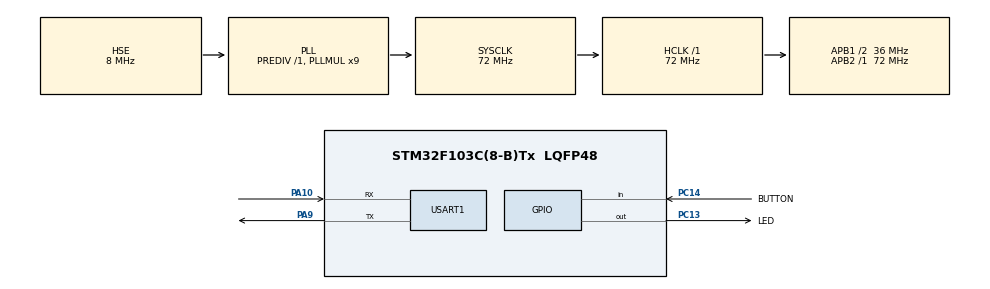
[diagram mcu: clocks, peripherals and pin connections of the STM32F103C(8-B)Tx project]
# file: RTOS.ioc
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FREERTOS.Mutexes01=uart_mutex01,Dynamic,NULL;uart_mutex02,Dynamic,NULL;uart_mutex03,Dynamic,NULL
FREERTOS.Tasks01=defaultTask,0,128,StartDefaultTask,Default,NULL,Dynamic,NULL,NULL;Thread1,-3,128,Thread1Func,Default,NULL,Dynamic,NULL,NULL;Thread2,-3,128,Thread2Func,Default,NULL,Dynamic,NULL,NULL;Thread3,-3,128,Thread3Func,Default,NULL,Dynamic,NULL,NULL
Mcu.Family=STM32F1
Mcu.Name=STM32F103C(8-B)Tx
Mcu.Package=LQFP48
NVIC.PriorityGroup=NVIC_PRIORITYGROUP_4
NVIC.TIM2_IRQn=true\:15\:0\:false\:false\:true\:false\:false\:true
NVIC.TimeBase=TIM2_IRQn
NVIC.TimeBaseIP=TIM2
PA10.Mode=Asynchronous
PA10.Signal=USART1_RX
PA13.Mode=Serial_Wire
PA13.Signal=SYS_JTMS-SWDIO
PA14.Mode=Serial_Wire
PA14.Signal=SYS_JTCK-SWCLK
PA9.Mode=Asynchronous
PA9.Signal=USART1_TX
PC13-TAMPER-RTC.GPIO_Label=LED
PC13-TAMPER-RTC.Signal=GPIO_Output
PC14-OSC32_IN.GPIO_Label=BUTTON
PC14-OSC32_IN.Signal=GPIO_Input
PD0-OSC_IN.Mode=HSE-External-Oscillator
PD0-OSC_IN.Signal=RCC_OSC_IN
PD1-OSC_OUT.Mode=HSE-External-Oscillator
PD1-OSC_OUT.Signal=RCC_OSC_OUT
ProjectManager.HeapSize=0x200
ProjectManager.StackSize=0x400
ProjectManager.TargetToolchain=STM32CubeIDE
RCC.AHBFreq_Value=72000000
RCC.APB1CLKDivider=RCC_HCLK_DIV2
RCC.APB1Freq_Value=36000000
RCC.APB1TimFreq_Value=72000000
RCC.APB2Freq_Value=72000000
RCC.APB2TimFreq_Value=72000000
RCC.HCLKFreq_Value=72000000
RCC.PLLMUL=RCC_PLL_MUL9
RCC.PLLSourceVirtual=RCC_PLLSOURCE_HSE
RCC.SYSCLKFreq_VALUE=72000000
RCC.SYSCLKSource=RCC_SYSCLKSOURCE_PLLCLK
RCC.USBFreq_Value=72000000
USART1.VirtualMode=VM_ASYNC
VP_FREERTOS_VS_CMSIS_V1.Mode=CMSIS_V1
VP_SYS_VS_tim2.Mode=TIM2
board=custom

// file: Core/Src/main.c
/* USER CODE BEGIN Header */
/**
  ******************************************************************************
  * @file           : main.c
  * @brief          : Main program body
  ******************************************************************************
  * @attention
  *
  * <h2><center>&copy; Copyright (c) 2021 STMicroelectronics.
  * All rights reserved.</center></h2>
  *
  * This software component is licensed by ST under BSD 3-Clause license,
  * the "License"; You may not use this file except in compliance with the
  * License. You may obtain a copy of the License at:
  *                        opensource.org/licenses/BSD-3-Clause
  *
  ******************************************************************************
  */
/* USER CODE END Header */
#include "main.h"
#include "cmsis_os.h"

UART_HandleTypeDef huart1;

osThreadId defaultTaskHandle;
osThreadId Thread1Handle;
osThreadId Thread2Handle;
osThreadId Thread3Handle;
osMutexId uart_mutex01Handle;
osMutexId uart_mutex02Handle;
osMutexId uart_mutex03Handle;

void SystemClock_Config(void);
static void MX_GPIO_Init(void);
static void MX_USART1_UART_Init(void);
void StartDefaultTask(void const * argument);
void Thread1Func(void const * argument);
void Thread2Func(void const * argument);
void Thread3Func(void const * argument);

/* USER CODE BEGIN 0 */
typedef uint32_t TaskProfiler;
TaskProfiler Default_Thread_Profiler, Thread_1_Profiler, Thread_2_Profiler;
uint8_t msgThreadDefault[30] = "Hello Thread Default";
uint8_t msgThread1[30] = "Hello Thread 1";
uint8_t msgThread2[30] = "Hello Thread 2";
uint8_t msgThread3[30] = "Hello Thread 3";
uint8_t msgThread4[30] = "Hello Thread 4";
/* USER CODE END 0 */

int main(void)
{

  /* MCU Configuration--------------------------------------------------------*/

  /* Reset of all peripherals, Initializes the Flash interface and the Systick. */
  HAL_Init();

  /* Configure the system clock */
  SystemClock_Config();

  /* Initialize all configured peripherals */
  MX_GPIO_Init();
  MX_USART1_UART_Init();

  /* Create the mutex(es) */
  /* definition and creation of uart_mutex01 */
  osMutexDef(uart_mutex01);
  uart_mutex01Handle = osMutexCreate(osMutex(uart_mutex01));

  /* definition and creation of uart_mutex02 */
  osMutexDef(uart_mutex02);
  uart_mutex02Handle = osMutexCreate(osMutex(uart_mutex02));

  /* definition and creation of uart_mutex03 */
  osMutexDef(uart_mutex03);
  uart_mutex03Handle = osMutexCreate(osMutex(uart_mutex03));

  /* Create the thread(s) */
  /* definition and creation of defaultTask */
  osThreadDef(defaultTask, StartDefaultTask, osPriorityNormal, 0, 128);
  defaultTaskHandle = osThreadCreate(osThread(defaultTask), NULL);

  /* definition and creation of Thread1 */
  osThreadDef(Thread1, Thread1Func, osPriorityIdle, 0, 128);
  Thread1Handle = osThreadCreate(osThread(Thread1), NULL);

  /* definition and creation of Thread2 */
  osThreadDef(Thread2, Thread2Func, osPriorityIdle, 0, 128);
  Thread2Handle = osThreadCreate(osThread(Thread2), NULL);

  /* definition and creation of Thread3 */
  osThreadDef(Thread3, Thread3Func, osPriorityIdle, 0, 128);
  Thread3Handle = osThreadCreate(osThread(Thread3), NULL);

  /* Start scheduler */
  osKernelStart();

  /* We should never get here as control is now taken by the scheduler */
  /* Infinite loop */
  while (1)
  {

  }
}

void SystemClock_Config(void)
{
  RCC_OscInitTypeDef RCC_OscInitStruct = {0};
  RCC_ClkInitTypeDef RCC_ClkInitStruct = {0};

  /** Initializes the RCC Oscillators according to the specified parameters
  * in the RCC_OscInitTypeDef structure.
  */
  RCC_OscInitStruct.OscillatorType = RCC_OSCILLATORTYPE_HSE;
  RCC_OscInitStruct.HSEState = RCC_HSE_ON;
  RCC_OscInitStruct.HSEPredivValue = RCC_HSE_PREDIV_DIV1;
  RCC_OscInitStruct.HSIState = RCC_HSI_ON;
  RCC_OscInitStruct.PLL.PLLState = RCC_PLL_ON;
  RCC_OscInitStruct.PLL.PLLSource = RCC_PLLSOURCE_HSE;
  RCC_OscInitStruct.PLL.PLLMUL = RCC_PLL_MUL9;
  if (HAL_RCC_OscConfig(&RCC_OscInitStruct) != HAL_OK)
  {
    Error_Handler();
  }
  /** Initializes the CPU, AHB and APB buses clocks
  */
  RCC_ClkInitStruct.ClockType = RCC_CLOCKTYPE_HCLK|RCC_CLOCKTYPE_SYSCLK
                              |RCC_CLOCKTYPE_PCLK1|RCC_CLOCKTYPE_PCLK2;
  RCC_ClkInitStruct.SYSCLKSource = RCC_SYSCLKSOURCE_PLLCLK;
  RCC_ClkInitStruct.AHBCLKDivider = RCC_SYSCLK_DIV1;
  RCC_ClkInitStruct.APB1CLKDivider = RCC_HCLK_DIV2;
  RCC_ClkInitStruct.APB2CLKDivider = RCC_HCLK_DIV1;

  if (HAL_RCC_ClockConfig(&RCC_ClkInitStruct, FLASH_LATENCY_2) != HAL_OK)
  {
    Error_Handler();
  }
}

static void MX_USART1_UART_Init(void)
{

  huart1.Instance = USART1;
  huart1.Init.BaudRate = 115200;
  huart1.Init.WordLength = UART_WORDLENGTH_8B;
  huart1.Init.StopBits = UART_STOPBITS_1;
  huart1.Init.Parity = UART_PARITY_NONE;
  huart1.Init.Mode = UART_MODE_TX_RX;
  huart1.Init.HwFlowCtl = UART_HWCONTROL_NONE;
  huart1.Init.OverSampling = UART_OVERSAMPLING_16;
  if (HAL_UART_Init(&huart1) != HAL_OK)
  {
    Error_Handler();
  }

}

static void MX_GPIO_Init(void)
{
  GPIO_InitTypeDef GPIO_InitStruct = {0};

  /* GPIO Ports Clock Enable */
  __HAL_RCC_GPIOC_CLK_ENABLE();
  __HAL_RCC_GPIOD_CLK_ENABLE();
  __HAL_RCC_GPIOA_CLK_ENABLE();

  /*Configure GPIO pin Output Level */
  HAL_GPIO_WritePin(LED_GPIO_Port, LED_Pin, GPIO_PIN_RESET);

  /*Configure GPIO pin : LED_Pin */
  GPIO_InitStruct.Pin = LED_Pin;
  GPIO_InitStruct.Mode = GPIO_MODE_OUTPUT_PP;
  GPIO_InitStruct.Pull = GPIO_NOPULL;
  GPIO_InitStruct.Speed = GPIO_SPEED_FREQ_LOW;
  HAL_GPIO_Init(LED_GPIO_Port, &GPIO_InitStruct);

  /*Configure GPIO pin : BUTTON_Pin */
  GPIO_InitStruct.Pin = BUTTON_Pin;
  GPIO_InitStruct.Mode = GPIO_MODE_INPUT;
  GPIO_InitStruct.Pull = GPIO_NOPULL;
  HAL_GPIO_Init(BUTTON_GPIO_Port, &GPIO_InitStruct);

}

void StartDefaultTask(void const * argument)
{
  /* USER CODE BEGIN 5 */
  /* Infinite loop */
  for(;;)
  {
//	  xTaskNotify(Thread3Handle, 0x01, eSetBits);

	  xSemaphoreTake(uart_mutex01Handle, portMAX_DELAY);
	  xSemaphoreTake(uart_mutex02Handle, portMAX_DELAY);
	  xSemaphoreTake(uart_mutex03Handle, portMAX_DELAY);
	  HAL_UART_Transmit(&huart1, msgThreadDefault, 30, 10);
	  xSemaphoreGive(uart_mutex01Handle);
	  xSemaphoreGive(uart_mutex02Handle);
	  xSemaphoreGive(uart_mutex03Handle);
//	  Default_Thread_Profiler++;
//    osDelay(1);
  }
  /* USER CODE END 5 */
}

void Thread1Func(void const * argument)
{
  /* USER CODE BEGIN Thread1Func */
  /* Infinite loop */
  for(;;)
  {
//	  Thread_1_Profiler++;
	  xSemaphoreTake(uart_mutex01Handle, portMAX_DELAY);
	  HAL_UART_Transmit(&huart1, msgThread1, 20, 10);
	  xSemaphoreGive(uart_mutex01Handle);
//    osDelay(1);
  }
  /* USER CODE END Thread1Func */
}

void Thread2Func(void const * argument)
{
  /* USER CODE BEGIN Thread2Func */
  /* Infinite loop */
  for(;;)
  {
//	  Thread_2_Profiler++;
	  xSemaphoreTake(uart_mutex02Handle, portMAX_DELAY);
	  HAL_UART_Transmit(&huart1, msgThread2, 20, 10);
	  xSemaphoreGive(uart_mutex02Handle);
//    osDelay(1);
  }
  /* USER CODE END Thread2Func */
}

void Thread3Func(void const * argument)
{
  /* USER CODE BEGIN Thread3Func */
//	uint32_t notifyValue=0;
  /* Infinite loop */
  for(;;)
  {
//	  xTaskNotifyWait(pdFalse, 0xFF, &notifyValue, portMAX_DELAY);

//	  if ((notifyValue & 0x01)) != 0x00) {

	  xSemaphoreTake(uart_mutex03Handle, portMAX_DELAY);
	  HAL_UART_Transmit(&huart1, msgThread3, 20, 10);
	  xSemaphoreGive(uart_mutex03Handle);
//	  }
//    osDelay(1);
  }
  /* USER CODE END Thread3Func */
}

void HAL_TIM_PeriodElapsedCallback(TIM_HandleTypeDef *htim)
{
  if (htim->Instance == TIM2) {
    HAL_IncTick();
  }
}

void Error_Handler(void)
{
  __disable_irq();
  while (1)
  {
  }
}

/************************ (C) COPYRIGHT STMicroelectronics *****END OF FILE****/
